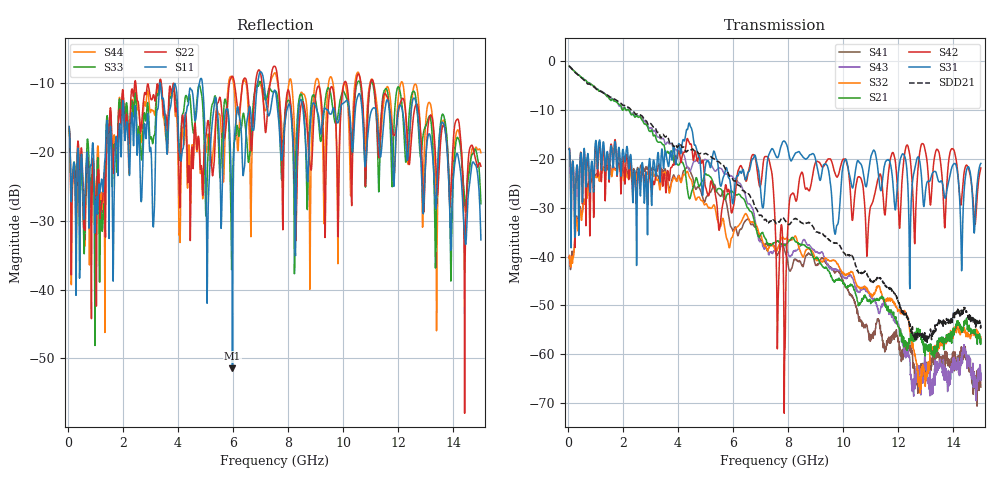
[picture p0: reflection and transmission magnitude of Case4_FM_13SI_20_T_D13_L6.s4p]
! FILE: \\descartes\10gec\Vendors\Tyco\Tyco Aug 31 04\Test 1\Test1_FM_13SI_20_T_D13_L6.s4p
! This data is being provided to the industry for analysis for the IEEE 802.3ap Backplane
! Ethernet Task Force.
! Disclaimer:  While Tyco Electronics has made every reasonable effort to ensure the accuracy
! of  the information provided herein, Tyco Electronics does not guarantee that it is error-free,
! nor does Tyco Electronics make any other representation, warranty, or guarantee that the
! information is accurate, correct, reliable or current.  Tyco Electronics reserves the right to
! make any adjustments to the information contained herein at any time without notice.  Tyco
! Electronics expressly disclaims all implied warranties regarding the information contained
! herein, including but not limited to any implied warranties of merchantability or fitness for a
! particular purpose.
! Note 1  This data is representative of the implementation that was measured only.
! Backplane channel behavior is highly sensitive to implementation, which includes board
! materials, trace geometry information, connector pin out, layer connection, use of stub removal
! techniques, such as backdrilling or blind/buried vias, etc.
! Note 2 - Crosstalk measurements are representative of the specific ATCA test cases only.  Crosstalk may
! vary depending on the pinout that is being considered by the user.  Assumptions regarding crosstalk
! behavior of the Z-PACK HM-Zd should be reviewed with Tyco Electronics prior to any simulations
! to permit assessment of the validity of the assumption.
! Note 3  The backplanes and line cards were designed independently of each other.
! Furthermore, the SMA line cards were designed for another pinout.  Hence, there is no
! optimization to limit the overall total skew of the system.
! This file, "Case4 FM 13SI 20 T D13 L6.s4p", should be used in conjunction with the following files 
!	Case4 FM 13SI 20 N1 D13 L6.s4p - NEXT Aggressor N1
!	Case4 FM 13SI 20 N2 D13 L6.s4p - NEXT Aggressor N2
!	Case4 FM 13SI 20 F D13 L6.s4p - FEXT Aggressor
! Tyco Electronics Test Case#4, Forward Channel Response
!	Test Backplane - Kaparel Full Mesh ATCA Backplane
!		Length - 20.5" (520.7mm)
!		Trace Width - 0.00475" (0.12065mm)
!		Material - 4000-13SI
!  Use of stub removal techniques - No. Bottom stripline layer connection
!	SMA Line Card
!		Length - 6" (152.4mm)
!		Trace Width - 0.006" (0.1524mm)
!  Material - 4000-13
!		Use of stub removal techniques - Launch structure counterbored where necessary.
!		Bottom and near-bottom connections at connector on line cards.!
! The backplane used for this testing was from
! Kaparel Corporation
! Contact  Mike Peters
! 519.725.0101
! Email  mpeters@kaparel.com
! The line cards used for this testing were from
! Tyco Electronics
! Contact  John DAmbrosia
! Email  john.dambrosia@tycoelectronics.com
! This data was taken by the University of New Hampshire InterOperability Laboratory (UNH-
! IOL) during the week of August 30, 2004.  The test setup consisted of the following 
!  - Agilent 8720ES with N4418A test set  ---
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# MHZ S DB R 50.00
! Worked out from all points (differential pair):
!   1496 points, 50 MHz to 15 GHz, reference 50 ohm
!   strongest paths, dB at 50 MHz, 3.79 GHz, 7.53 GHz, 11.27 GHz, 15 GHz:
!     S31: -18.0, -20.3, -19.1, -22.6, -20.9
!     S42: -18.0, -21.6, -33.1, -24.1, -21.9
!     S21: -1.1, -18.6, -37.1, -48.9, -56.9
!     S32: -40.4, -24.6, -38.7, -46.0, -56.5
!     S43: -1.1, -17.1, -38.8, -51.2, -63.8
!     S41: -40.3, -24.2, -38.7, -52.9, -66.7
!   taken as a pair (ports 1,3 in; 2,4 out), SDD21 dB: -1.0, -16.8, -32.9, -44.5, -53.9
!   lowest |S11| = -51.4 dB at 5.98 GHz (marker M1), VSWR 1.01, Z = 50.2 + j0.191 ohm
!   |S11| at or under -10 dB: start of sweep to 3.349 GHz; 4.886 GHz to 6.895 GHz (2.009 GHz wide, 34.1 % of centre); 7.125 GHz to end of sweep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
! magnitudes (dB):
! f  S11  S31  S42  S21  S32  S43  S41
! 50 MHz  -16.3  -18.0  -18.0  -1.1  -40.4  -1.1  -40.3
! 1.43 GHz  -15.4  -18.5  -19.0  -7.3  -21.2  -7.3  -21.9
! 5.98 GHz  -51.4  -29.0  -30.7  -26.7  -36.0  -23.7  -34.5
! 7.27 GHz  -14.5  -19.8  -19.7  -37.4  -38.5  -39.0  -37.8
! 7.88 GHz  -16.1  -16.5  -59.0  -37.8  -36.5  -37.5  -38.9
! 9.04 GHz  -13.8  -21.2  -20.6  -40.1  -40.8  -39.1  -41.8
! 15 GHz  -32.8  -20.9  -21.9  -56.9  -56.5  -63.8  -66.7
